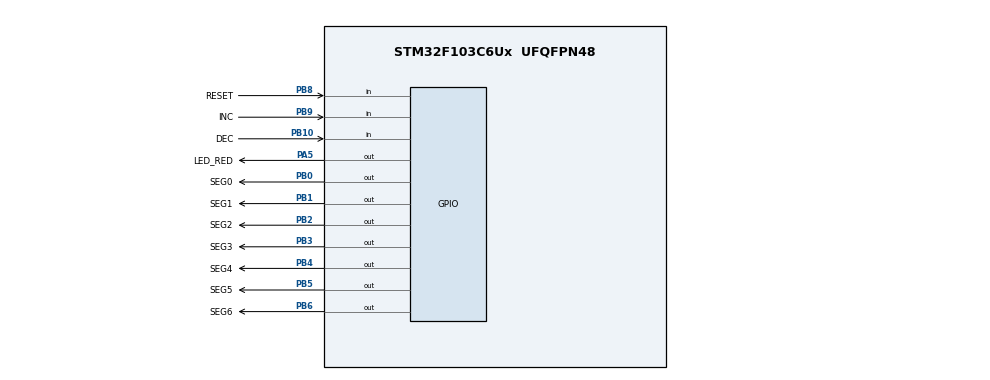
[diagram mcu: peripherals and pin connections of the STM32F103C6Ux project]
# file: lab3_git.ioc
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Mcu.Family=STM32F1
Mcu.Name=STM32F103C6Ux
Mcu.Package=UFQFPN48
NVIC.PriorityGroup=NVIC_PRIORITYGROUP_4
NVIC.TIM2_IRQn=true\:0\:0\:false\:false\:true\:true\:true
PA5.GPIO_Label=LED_RED
PA5.Signal=GPIO_Output
PB0.GPIO_Label=SEG0
PB0.Signal=GPIO_Output
PB1.GPIO_Label=SEG1
PB1.Signal=GPIO_Output
PB10.GPIO_Label=DEC
PB10.GPIO_PuPd=GPIO_PULLUP
PB10.Signal=GPIO_Input
PB2.GPIO_Label=SEG2
PB2.Signal=GPIO_Output
PB3.GPIO_Label=SEG3
PB3.Signal=GPIO_Output
PB4.GPIO_Label=SEG4
PB4.Signal=GPIO_Output
PB5.GPIO_Label=SEG5
PB5.Signal=GPIO_Output
PB6.GPIO_Label=SEG6
PB6.Signal=GPIO_Output
PB8.GPIO_Label=RESET
PB8.GPIO_PuPd=GPIO_PULLUP
PB8.Signal=GPIO_Input
PB9.GPIO_Label=INC
PB9.GPIO_PuPd=GPIO_PULLUP
PB9.Signal=GPIO_Input
ProjectManager.HeapSize=0x200
ProjectManager.StackSize=0x400
ProjectManager.TargetToolchain=STM32CubeIDE
RCC.APB1Freq_Value=8000000
RCC.APB2Freq_Value=8000000
TIM2.Period=9
TIM2.Prescaler=7999
VP_SYS_VS_ND.Mode=No_Debug
VP_TIM2_VS_ClockSourceINT.Mode=Internal
board=custom

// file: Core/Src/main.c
/* USER CODE BEGIN Header */
/**
  ******************************************************************************
  * @file           : main.c
  * @brief          : Main program body
  ******************************************************************************
  * @attention
  *
  * <h2><center>&copy; Copyright (c) 2024 STMicroelectronics.
  * All rights reserved.</center></h2>
  *
  * This software component is licensed by ST under BSD 3-Clause license,
  * the "License"; You may not use this file except in compliance with the
  * License. You may obtain a copy of the License at:
  *                        opensource.org/licenses/BSD-3-Clause
  *
  ******************************************************************************
  */
/* USER CODE END Header */
#include "main.h"

/* USER CODE BEGIN Includes */
#include "software_timer.h"
#include "button.h"
#include "fsm_automatic.h"
#include "global.h"
#include "scheduler.h"
/* USER CODE END Includes */

TIM_HandleTypeDef htim2;

void SystemClock_Config(void);
static void MX_GPIO_Init(void);
static void MX_TIM2_Init(void);

int main(void)
{

  /* MCU Configuration--------------------------------------------------------*/

  /* Reset of all peripherals, Initializes the Flash interface and the Systick. */
  HAL_Init();

  /* Configure the system clock */
  SystemClock_Config();

  /* Initialize all configured peripherals */
  MX_GPIO_Init();
  MX_TIM2_Init();
  /* USER CODE BEGIN 2 */
  HAL_TIM_Base_Start_IT(&htim2);
  /* USER CODE END 2 */

  /* Infinite loop */
  /* USER CODE BEGIN WHILE */
//  SCH_Add_Task(led1test, 100, 200);
//  SCH_Add_Task(led2test, 100, 100);
//  SCH_Add_Task(led3test, 100, 300);

  while (1)
  {
	   fsm_automatic();

	   fsm_simple_buttons_run();
//	  SCH_Dispatch_Tasks();

    /* USER CODE END WHILE */

  }
}

void SystemClock_Config(void)
{
  RCC_OscInitTypeDef RCC_OscInitStruct = {0};
  RCC_ClkInitTypeDef RCC_ClkInitStruct = {0};

  /** Initializes the RCC Oscillators according to the specified parameters
  * in the RCC_OscInitTypeDef structure.
  */
  RCC_OscInitStruct.OscillatorType = RCC_OSCILLATORTYPE_HSI;
  RCC_OscInitStruct.HSIState = RCC_HSI_ON;
  RCC_OscInitStruct.HSICalibrationValue = RCC_HSICALIBRATION_DEFAULT;
  RCC_OscInitStruct.PLL.PLLState = RCC_PLL_NONE;
  if (HAL_RCC_OscConfig(&RCC_OscInitStruct) != HAL_OK)
  {
    Error_Handler();
  }
  /** Initializes the CPU, AHB and APB buses clocks
  */
  RCC_ClkInitStruct.ClockType = RCC_CLOCKTYPE_HCLK|RCC_CLOCKTYPE_SYSCLK
                              |RCC_CLOCKTYPE_PCLK1|RCC_CLOCKTYPE_PCLK2;
  RCC_ClkInitStruct.SYSCLKSource = RCC_SYSCLKSOURCE_HSI;
  RCC_ClkInitStruct.AHBCLKDivider = RCC_SYSCLK_DIV1;
  RCC_ClkInitStruct.APB1CLKDivider = RCC_HCLK_DIV1;
  RCC_ClkInitStruct.APB2CLKDivider = RCC_HCLK_DIV1;

  if (HAL_RCC_ClockConfig(&RCC_ClkInitStruct, FLASH_LATENCY_0) != HAL_OK)
  {
    Error_Handler();
  }
}

static void MX_TIM2_Init(void)
{

  TIM_ClockConfigTypeDef sClockSourceConfig = {0};
  TIM_MasterConfigTypeDef sMasterConfig = {0};

  htim2.Instance = TIM2;
  htim2.Init.Prescaler = 7999;
  htim2.Init.CounterMode = TIM_COUNTERMODE_UP;
  htim2.Init.Period = 9;
  htim2.Init.ClockDivision = TIM_CLOCKDIVISION_DIV1;
  htim2.Init.AutoReloadPreload = TIM_AUTORELOAD_PRELOAD_DISABLE;
  if (HAL_TIM_Base_Init(&htim2) != HAL_OK)
  {
    Error_Handler();
  }
  sClockSourceConfig.ClockSource = TIM_CLOCKSOURCE_INTERNAL;
  if (HAL_TIM_ConfigClockSource(&htim2, &sClockSourceConfig) != HAL_OK)
  {
    Error_Handler();
  }
  sMasterConfig.MasterOutputTrigger = TIM_TRGO_RESET;
  sMasterConfig.MasterSlaveMode = TIM_MASTERSLAVEMODE_DISABLE;
  if (HAL_TIMEx_MasterConfigSynchronization(&htim2, &sMasterConfig) != HAL_OK)
  {
    Error_Handler();
  }

}

static void MX_GPIO_Init(void)
{
  GPIO_InitTypeDef GPIO_InitStruct = {0};

  /* GPIO Ports Clock Enable */
  __HAL_RCC_GPIOA_CLK_ENABLE();
  __HAL_RCC_GPIOB_CLK_ENABLE();

  /*Configure GPIO pin Output Level */
  HAL_GPIO_WritePin(LED_RED_GPIO_Port, LED_RED_Pin, GPIO_PIN_RESET);

  /*Configure GPIO pin Output Level */
  HAL_GPIO_WritePin(GPIOB, SEG0_Pin|SEG1_Pin|SEG2_Pin|SEG3_Pin
                          |SEG4_Pin|SEG5_Pin|SEG6_Pin, GPIO_PIN_RESET);

  /*Configure GPIO pin : LED_RED_Pin */
  GPIO_InitStruct.Pin = LED_RED_Pin;
  GPIO_InitStruct.Mode = GPIO_MODE_OUTPUT_PP;
  GPIO_InitStruct.Pull = GPIO_NOPULL;
  GPIO_InitStruct.Speed = GPIO_SPEED_FREQ_LOW;
  HAL_GPIO_Init(LED_RED_GPIO_Port, &GPIO_InitStruct);

  /*Configure GPIO pins : SEG0_Pin SEG1_Pin SEG2_Pin SEG3_Pin
                           SEG4_Pin SEG5_Pin SEG6_Pin */
  GPIO_InitStruct.Pin = SEG0_Pin|SEG1_Pin|SEG2_Pin|SEG3_Pin
                          |SEG4_Pin|SEG5_Pin|SEG6_Pin;
  GPIO_InitStruct.Mode = GPIO_MODE_OUTPUT_PP;
  GPIO_InitStruct.Pull = GPIO_NOPULL;
  GPIO_InitStruct.Speed = GPIO_SPEED_FREQ_LOW;
  HAL_GPIO_Init(GPIOB, &GPIO_InitStruct);

  /*Configure GPIO pins : DEC_Pin RESET_Pin INC_Pin */
  GPIO_InitStruct.Pin = DEC_Pin|RESET_Pin|INC_Pin;
  GPIO_InitStruct.Mode = GPIO_MODE_INPUT;
  GPIO_InitStruct.Pull = GPIO_PULLUP;
  HAL_GPIO_Init(GPIOB, &GPIO_InitStruct);

}

/* USER CODE BEGIN 4 */

void HAL_TIM_PeriodElapsedCallback(TIM_HandleTypeDef *htim){
	timer1Run();
	timer2Run();
	timer3Run();
	timer4Run();
	timer5Run();
	timer6Run();
	getKeyInput1();
	getKeyInput2();
	getKeyInput3();

//	SCH_Update();
}
/* USER CODE END 4 */

void Error_Handler(void)
{
  __disable_irq();
  while (1)
  {
  }
}

/************************ (C) COPYRIGHT STMicroelectronics *****END OF FILE****/
